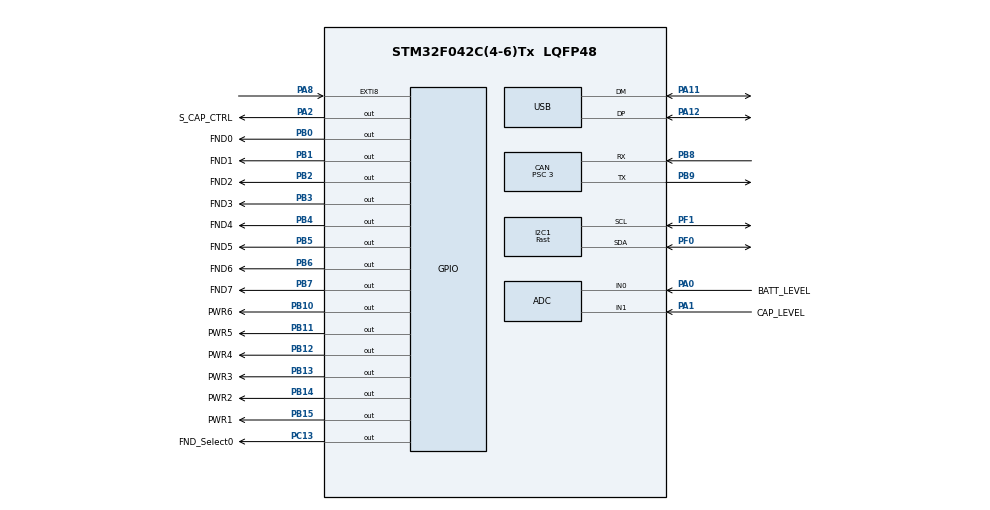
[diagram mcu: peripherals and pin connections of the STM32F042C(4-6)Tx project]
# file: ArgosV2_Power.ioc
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CAN.BS1=CAN_BS1_13TQ
CAN.BS2=CAN_BS2_2TQ
CAN.CalculateBaudRate=1000000
CAN.CalculateTimeBit=1000.00
CAN.CalculateTimeQuantum=62.5
CAN.Prescaler=3
Dma.ADC.0.Direction=DMA_PERIPH_TO_MEMORY
Dma.ADC.0.Instance=DMA1_Channel1
Dma.ADC.0.MemDataAlignment=DMA_MDATAALIGN_HALFWORD
Dma.ADC.0.MemInc=DMA_MINC_ENABLE
Dma.ADC.0.Mode=DMA_CIRCULAR
Dma.ADC.0.PeriphDataAlignment=DMA_PDATAALIGN_HALFWORD
Dma.ADC.0.PeriphInc=DMA_PINC_DISABLE
Dma.ADC.0.Priority=DMA_PRIORITY_LOW
Dma.Request0=ADC
I2C1.I2C_Speed_Mode=I2C_Fast
I2C1.Timing=0x0000020B
Mcu.Family=STM32F0
Mcu.Name=STM32F042C(4-6)Tx
Mcu.Package=LQFP48
NVIC.ADC1_IRQn=true\:0\:0\:false\:false\:true\:true\:true
NVIC.DMA1_Channel1_IRQn=true\:0\:0\:false\:false\:true\:false\:true
NVIC.EXTI4_15_IRQn=true\:0\:0\:false\:false\:true\:true\:true
NVIC.I2C1_IRQn=true\:0\:0\:false\:false\:true\:true\:true
NVIC.TIM1_BRK_UP_TRG_COM_IRQn=true\:0\:0\:false\:false\:true\:true\:true
NVIC.USB_IRQn=true\:0\:0\:false\:false\:true\:true\:true
PA0.GPIO_Label=BATT_LEVEL
PA0.Mode=IN0
PA0.Signal=ADC_IN0
PA1.GPIO_Label=CAP_LEVEL
PA1.Mode=IN1
PA1.Signal=ADC_IN1
PA11.Mode=Device
PA11.Signal=USB_DM
PA12.Mode=Device
PA12.Signal=USB_DP
PA2.GPIO_Label=S_CAP_CTRL
PA2.Signal=GPIO_Output
PA8.GPIO_ModeDefaultEXTI=GPIO_MODE_IT_RISING_FALLING
PA8.Signal=GPXTI8
PB0.GPIO_Label=FND0
PB0.Signal=GPIO_Output
PB1.GPIO_Label=FND1
PB1.Signal=GPIO_Output
PB10.GPIO_Label=PWR6
PB10.GPIO_ModeDefaultOutputPP=GPIO_MODE_OUTPUT_OD
PB10.GPIO_PuPd=GPIO_PULLUP
PB10.GPIO_Speed=GPIO_SPEED_FREQ_LOW
PB10.PinState=GPIO_PIN_SET
PB10.Signal=GPIO_Output
PB11.GPIO_Label=PWR5
PB11.GPIO_ModeDefaultOutputPP=GPIO_MODE_OUTPUT_OD
PB11.GPIO_PuPd=GPIO_PULLUP
PB11.GPIO_Speed=GPIO_SPEED_FREQ_LOW
PB11.PinState=GPIO_PIN_SET
PB11.Signal=GPIO_Output
PB12.GPIO_Label=PWR4
PB12.GPIO_ModeDefaultOutputPP=GPIO_MODE_OUTPUT_OD
PB12.GPIO_PuPd=GPIO_PULLUP
PB12.GPIO_Speed=GPIO_SPEED_FREQ_LOW
PB12.PinState=GPIO_PIN_SET
PB12.Signal=GPIO_Output
PB13.GPIO_Label=PWR3
PB13.GPIO_ModeDefaultOutputPP=GPIO_MODE_OUTPUT_OD
PB13.GPIO_PuPd=GPIO_PULLUP
PB13.GPIO_Speed=GPIO_SPEED_FREQ_LOW
PB13.PinState=GPIO_PIN_SET
PB13.Signal=GPIO_Output
PB14.GPIO_Label=PWR2
PB14.GPIO_ModeDefaultOutputPP=GPIO_MODE_OUTPUT_OD
PB14.GPIO_PuPd=GPIO_PULLUP
PB14.GPIO_Speed=GPIO_SPEED_FREQ_LOW
PB14.PinState=GPIO_PIN_SET
PB14.Signal=GPIO_Output
PB15.GPIO_Label=PWR1
PB15.GPIO_ModeDefaultOutputPP=GPIO_MODE_OUTPUT_OD
PB15.GPIO_PuPd=GPIO_PULLUP
PB15.GPIO_Speed=GPIO_SPEED_FREQ_LOW
PB15.PinState=GPIO_PIN_SET
PB15.Signal=GPIO_Output
PB2.GPIO_Label=FND2
PB2.Signal=GPIO_Output
PB3.GPIO_Label=FND3
PB3.Signal=GPIO_Output
PB4.GPIO_Label=FND4
PB4.Signal=GPIO_Output
PB5.GPIO_Label=FND5
PB5.Signal=GPIO_Output
PB6.GPIO_Label=FND6
PB6.Signal=GPIO_Output
PB7.GPIO_Label=FND7
PB7.Signal=GPIO_Output
PB8.Mode=CAN_Activate
PB8.Signal=CAN_RX
PB9.Mode=CAN_Activate
PB9.Signal=CAN_TX
PC13.GPIO_Label=FND_Select0
PC13.Signal=GPIO_Output
PC14OSC32_IN.GPIO_Label=FND_Select1
PC14OSC32_IN.Signal=GPIO_Output
PC15OSC32_OUT.GPIO_Label=FND_Select2
PC15OSC32_OUT.Signal=GPIO_Output
PF0-OSC_IN.Mode=I2C
PF0-OSC_IN.Signal=I2C1_SDA
PF1-OSC_OUT.Mode=I2C
PF1-OSC_OUT.Signal=I2C1_SCL
ProjectManager.HeapSize=0x100
ProjectManager.StackSize=0x200
ProjectManager.TargetToolchain=MDK-ARM V5.27
RCC.AHBFreq_Value=48000000
RCC.APB1Freq_Value=48000000
RCC.APB1TimFreq_Value=48000000
RCC.HCLKFreq_Value=48000000
RCC.SYSCLKFreq_VALUE=48000000
RCC.SYSCLKSource=RCC_SYSCLKSOURCE_HSI48
TIM1.Period=600
TIM1.Prescaler=79
USB_DEVICE.APP_RX_DATA_SIZE=30
USB_DEVICE.APP_TX_DATA_SIZE=30
USB_DEVICE.CLASS_NAME_FS=CDC
USB_DEVICE.MANUFACTURER_STRING=Stryx.Inc
USB_DEVICE.PRODUCT_STRING_CDC_FS=WebMMS_Power
USB_DEVICE.USBD_MAX_STR_DESC_SIZ=64
USB_DEVICE.USBD_SELF_POWERED=1
USB_DEVICE.VirtualMode=Cdc
USB_DEVICE.VirtualModeFS=Cdc_FS
VP_TIM1_VS_ClockSourceINT.Mode=Internal
VP_USB_DEVICE_VS_USB_DEVICE_CDC_FS.Mode=CDC_FS
board=custom

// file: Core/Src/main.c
/* USER CODE BEGIN Header */
/**
 ******************************************************************************
 * @file           : main.c
 * @brief          : Main program body
 ******************************************************************************
 * @attention
 *
 * <h2><center>&copy; Copyright (c) 2020 STMicroelectronics.
 * All rights reserved.</center></h2>
 *
 * This software component is licensed by ST under BSD 3-Clause license,
 * the "License"; You may not use this file except in compliance with the
 * License. You may obtain a copy of the License at:
 *                        opensource.org/licenses/BSD-3-Clause
 *
 ******************************************************************************
 */
/* USER CODE END Header */
#include "main.h"
#include "usb_device.h"

/* USER CODE BEGIN Includes */
#include <stdbool.h>
#include <string.h>
#include <stdlib.h>
#include <stdio.h>
#include "fonts.h"
#include "ssd1306.h"
#include "usbd_core.h"
/* USER CODE END Includes */

/* USER CODE BEGIN PD */
#define BAT_MAX_VOLTAGE 14.9f
#define CAM_MAX_VOLTAGE 9.9f
#define ADC_MAX_VAL 4096.0f
/* USER CODE END PD */

ADC_HandleTypeDef hadc;
DMA_HandleTypeDef hdma_adc;

CAN_HandleTypeDef hcan;

I2C_HandleTypeDef hi2c1;

TIM_HandleTypeDef htim1;

/* USER CODE BEGIN PV */

// USB Setting
extern USBD_HandleTypeDef hUsbDeviceFS;
extern PCD_HandleTypeDef hpcd_USB_FS;
uint8_t usb_inited_f = 0;
uint8_t usb_init_f = 0;

// FND
const uint8_t fnd_segment_arr[] =
	{
		0x3F,	//0
		0x06,	//1
		0x5B,	//2
		0x4F,	//3
		0x66,	//4
		0x6D,	//5
		0x7D,	//6
		0x07,	//7
		0x7F,	//8
		0x6F,	//9
		0x77,	//A
		0x7C,	//B
		0x39,	//C
		0x5E,	//D
		0x79,	//E
		0x71	//F
		};
uint8_t fnd_var[3];

// Voltage, Current
uint16_t adc_val[2];
float bat_volt = 0, cam_volt = 0;
char print_bat[20];
char print_cam[20];
/* USER CODE END PV */

void SystemClock_Config(void);
static void MX_GPIO_Init(void);
static void MX_DMA_Init(void);
static void MX_ADC_Init(void);
static void MX_TIM1_Init(void);
static void MX_I2C1_Init(void);
static void MX_CAN_Init(void);
/* USER CODE BEGIN PFP */
void HAL_TIM_PeriodElapsedCallback(TIM_HandleTypeDef *htim)
{
	static uint16_t now = 13;
	if (htim->Instance == TIM1)
	{
		HAL_GPIO_WritePin(GPIOC, (1 << now), GPIO_PIN_SET);
		now++;
		if (now >= 16)
		{
			now = 13;
		}
		HAL_GPIO_WritePin(GPIOB, 0x00FF, GPIO_PIN_RESET);
		HAL_GPIO_WritePin(GPIOB, fnd_var[now - 13], GPIO_PIN_SET);
		HAL_GPIO_WritePin(GPIOC, (1 << now), GPIO_PIN_RESET);
	}
}

void set_seg_val(uint16_t val, uint8_t ptDigit)
{
	fnd_var[0] = fnd_segment_arr[val / 100]; // 100
	fnd_var[1] = fnd_segment_arr[((val % 100)) / 10]; // 10
	fnd_var[2] = fnd_segment_arr[val % 10]; // 1

	for (uint8_t i = 0; i < 3; i++)
	{
		if (ptDigit & (1 << i))
		{
			fnd_var[i] |= 0x80;
		}
	}
}

void volt_print()
{
	HAL_ADC_Start_DMA(&hadc, (uint32_t *)adc_val, 2);
	for (int i = 0; i < 2; i++)
	{
		HAL_DMA_PollForTransfer(&hdma_adc, HAL_DMA_FULL_TRANSFER, 1000);
	}
	HAL_ADC_Stop_DMA(&hadc);

	bat_volt = ((BAT_MAX_VOLTAGE) / (ADC_MAX_VAL)) * ((float) adc_val[0]);
	cam_volt = ((CAM_MAX_VOLTAGE) / (ADC_MAX_VAL)) * ((float) adc_val[1]);
	if (cam_volt >= 5.3)
	{
		HAL_GPIO_WritePin(S_CAP_CTRL_GPIO_Port, S_CAP_CTRL_Pin, GPIO_PIN_SET);
	}
	else
	{
		HAL_GPIO_WritePin(S_CAP_CTRL_GPIO_Port, S_CAP_CTRL_Pin, GPIO_PIN_RESET);
	}
	set_seg_val((uint16_t) (cam_volt * 100.0), 1 << 0);
	HAL_Delay(50);
}
/* USER CODE END PFP */

int main(void)
{

  /* MCU Configuration--------------------------------------------------------*/

  /* Reset of all peripherals, Initializes the Flash interface and the Systick. */
  HAL_Init();

  /* Configure the system clock */
  SystemClock_Config();

  /* Initialize all configured peripherals */
  MX_GPIO_Init();
  MX_DMA_Init();
  MX_ADC_Init();
  MX_USB_DEVICE_Init();
  MX_TIM1_Init();
  MX_I2C1_Init();
  MX_CAN_Init();
  /* USER CODE BEGIN 2 */
	HAL_TIM_Base_Start_IT(&htim1);
	usb_inited_f = 1;
	ssd1306_Init();

	// I2C OLED Init
	ssd1306_Init();
	ssd1306_Fill(Black);
	ssd1306_UpdateScreen();

	// I2C OLED Default Print
	ssd1306_SetCursor(18, 0);
	ssd1306_WriteString("Stryx.INC", Font_11x18, White);
	ssd1306_SetCursor(0, 20);
	ssd1306_WriteString("batV:", Font_11x18, White);
	ssd1306_SetCursor(0, 40);
	ssd1306_WriteString("camV:", Font_11x18, White);
	ssd1306_UpdateScreen();
  /* USER CODE END 2 */

  /* Infinite loop */
	while (1)
	{

    /* USER CODE BEGIN 3 */
		volt_print();

		sprintf(print_bat, "%d.%d", (int) bat_volt, (int) (bat_volt * 100) % 100);
		sprintf(print_cam, "%d.%d", (int) cam_volt, (int) (cam_volt * 100) % 100);

		ssd1306_SetCursor(60, 20);
		ssd1306_WriteString(print_bat, Font_11x18, White);
		ssd1306_SetCursor(60, 40);
		ssd1306_WriteString(print_cam, Font_11x18, White);
		ssd1306_UpdateScreen();

		if (usb_init_f == 1)
		{
			MX_USB_DEVICE_Init();
			usb_init_f = 0;
		}
		else if (usb_init_f == 2)
		{
			HAL_PCD_DevDisconnect(&hpcd_USB_FS);
			USBD_Stop(&hUsbDeviceFS);
			USBD_DeInit(&hUsbDeviceFS);
			usb_init_f = 0;
		}
	}
  /* USER CODE END 3 */
}

void SystemClock_Config(void)
{
  LL_FLASH_SetLatency(LL_FLASH_LATENCY_1);
  while(LL_FLASH_GetLatency() != LL_FLASH_LATENCY_1)
  {
  }
  LL_RCC_HSI_Enable();

   /* Wait till HSI is ready */
  while(LL_RCC_HSI_IsReady() != 1)
  {

  }
  LL_RCC_HSI_SetCalibTrimming(16);
  LL_RCC_HSI14_Enable();

   /* Wait till HSI14 is ready */
  while(LL_RCC_HSI14_IsReady() != 1)
  {

  }
  LL_RCC_HSI14_SetCalibTrimming(16);
  LL_RCC_HSI48_Enable();

   /* Wait till HSI48 is ready */
  while(LL_RCC_HSI48_IsReady() != 1)
  {

  }
  LL_RCC_SetAHBPrescaler(LL_RCC_SYSCLK_DIV_1);
  LL_RCC_SetAPB1Prescaler(LL_RCC_APB1_DIV_1);
  LL_RCC_SetSysClkSource(LL_RCC_SYS_CLKSOURCE_HSI48);

   /* Wait till System clock is ready */
  while(LL_RCC_GetSysClkSource() != LL_RCC_SYS_CLKSOURCE_STATUS_HSI48)
  {

  }
  LL_SetSystemCoreClock(48000000);

   /* Update the time base */
  if (HAL_InitTick (TICK_INT_PRIORITY) != HAL_OK)
  {
    Error_Handler();
  }
  LL_RCC_HSI14_EnableADCControl();
  LL_RCC_SetI2CClockSource(LL_RCC_I2C1_CLKSOURCE_HSI);
  LL_RCC_SetUSBClockSource(LL_RCC_USB_CLKSOURCE_HSI48);
}

static void MX_ADC_Init(void)
{

  ADC_ChannelConfTypeDef sConfig = {0};

  /** Configure the global features of the ADC (Clock, Resolution, Data Alignment and number of conversion)
  */
  hadc.Instance = ADC1;
  hadc.Init.ClockPrescaler = ADC_CLOCK_ASYNC_DIV1;
  hadc.Init.Resolution = ADC_RESOLUTION_12B;
  hadc.Init.DataAlign = ADC_DATAALIGN_RIGHT;
  hadc.Init.ScanConvMode = ADC_SCAN_DIRECTION_FORWARD;
  hadc.Init.EOCSelection = ADC_EOC_SINGLE_CONV;
  hadc.Init.LowPowerAutoWait = DISABLE;
  hadc.Init.LowPowerAutoPowerOff = DISABLE;
  hadc.Init.ContinuousConvMode = DISABLE;
  hadc.Init.DiscontinuousConvMode = DISABLE;
  hadc.Init.ExternalTrigConv = ADC_SOFTWARE_START;
  hadc.Init.ExternalTrigConvEdge = ADC_EXTERNALTRIGCONVEDGE_NONE;
  hadc.Init.DMAContinuousRequests = DISABLE;
  hadc.Init.Overrun = ADC_OVR_DATA_PRESERVED;
  if (HAL_ADC_Init(&hadc) != HAL_OK)
  {
    Error_Handler();
  }
  /** Configure for the selected ADC regular channel to be converted.
  */
  sConfig.Channel = ADC_CHANNEL_0;
  sConfig.Rank = ADC_RANK_CHANNEL_NUMBER;
  sConfig.SamplingTime = ADC_SAMPLETIME_1CYCLE_5;
  if (HAL_ADC_ConfigChannel(&hadc, &sConfig) != HAL_OK)
  {
    Error_Handler();
  }
  /** Configure for the selected ADC regular channel to be converted.
  */
  sConfig.Channel = ADC_CHANNEL_1;
  if (HAL_ADC_ConfigChannel(&hadc, &sConfig) != HAL_OK)
  {
    Error_Handler();
  }

}

static void MX_CAN_Init(void)
{

  hcan.Instance = CAN;
  hcan.Init.Prescaler = 3;
  hcan.Init.Mode = CAN_MODE_NORMAL;
  hcan.Init.SyncJumpWidth = CAN_SJW_1TQ;
  hcan.Init.TimeSeg1 = CAN_BS1_13TQ;
  hcan.Init.TimeSeg2 = CAN_BS2_2TQ;
  hcan.Init.TimeTriggeredMode = DISABLE;
  hcan.Init.AutoBusOff = DISABLE;
  hcan.Init.AutoWakeUp = DISABLE;
  hcan.Init.AutoRetransmission = DISABLE;
  hcan.Init.ReceiveFifoLocked = DISABLE;
  hcan.Init.TransmitFifoPriority = DISABLE;
  if (HAL_CAN_Init(&hcan) != HAL_OK)
  {
    Error_Handler();
  }

}

static void MX_I2C1_Init(void)
{

  hi2c1.Instance = I2C1;
  hi2c1.Init.Timing = 0x0000020B;
  hi2c1.Init.OwnAddress1 = 0;
  hi2c1.Init.AddressingMode = I2C_ADDRESSINGMODE_7BIT;
  hi2c1.Init.DualAddressMode = I2C_DUALADDRESS_DISABLE;
  hi2c1.Init.OwnAddress2 = 0;
  hi2c1.Init.OwnAddress2Masks = I2C_OA2_NOMASK;
  hi2c1.Init.GeneralCallMode = I2C_GENERALCALL_DISABLE;
  hi2c1.Init.NoStretchMode = I2C_NOSTRETCH_DISABLE;
  if (HAL_I2C_Init(&hi2c1) != HAL_OK)
  {
    Error_Handler();
  }
  /** Configure Analogue filter
  */
  if (HAL_I2CEx_ConfigAnalogFilter(&hi2c1, I2C_ANALOGFILTER_ENABLE) != HAL_OK)
  {
    Error_Handler();
  }
  /** Configure Digital filter
  */
  if (HAL_I2CEx_ConfigDigitalFilter(&hi2c1, 0) != HAL_OK)
  {
    Error_Handler();
  }

}

static void MX_TIM1_Init(void)
{

  TIM_ClockConfigTypeDef sClockSourceConfig = {0};
  TIM_MasterConfigTypeDef sMasterConfig = {0};

  htim1.Instance = TIM1;
  htim1.Init.Prescaler = 79;
  htim1.Init.CounterMode = TIM_COUNTERMODE_UP;
  htim1.Init.Period = 600;
  htim1.Init.ClockDivision = TIM_CLOCKDIVISION_DIV1;
  htim1.Init.RepetitionCounter = 0;
  htim1.Init.AutoReloadPreload = TIM_AUTORELOAD_PRELOAD_DISABLE;
  if (HAL_TIM_Base_Init(&htim1) != HAL_OK)
  {
    Error_Handler();
  }
  sClockSourceConfig.ClockSource = TIM_CLOCKSOURCE_INTERNAL;
  if (HAL_TIM_ConfigClockSource(&htim1, &sClockSourceConfig) != HAL_OK)
  {
    Error_Handler();
  }
  sMasterConfig.MasterOutputTrigger = TIM_TRGO_RESET;
  sMasterConfig.MasterSlaveMode = TIM_MASTERSLAVEMODE_DISABLE;
  if (HAL_TIMEx_MasterConfigSynchronization(&htim1, &sMasterConfig) != HAL_OK)
  {
    Error_Handler();
  }

}

static void MX_DMA_Init(void)
{

  /* DMA controller clock enable */
  __HAL_RCC_DMA1_CLK_ENABLE();

  /* DMA interrupt init */
  /* DMA1_Channel1_IRQn interrupt configuration */
  HAL_NVIC_SetPriority(DMA1_Channel1_IRQn, 0, 0);
  HAL_NVIC_EnableIRQ(DMA1_Channel1_IRQn);

}

static void MX_GPIO_Init(void)
{
  LL_EXTI_InitTypeDef EXTI_InitStruct = {0};
  LL_GPIO_InitTypeDef GPIO_InitStruct = {0};

  /* GPIO Ports Clock Enable */
  LL_AHB1_GRP1_EnableClock(LL_AHB1_GRP1_PERIPH_GPIOC);
  LL_AHB1_GRP1_EnableClock(LL_AHB1_GRP1_PERIPH_GPIOF);
  LL_AHB1_GRP1_EnableClock(LL_AHB1_GRP1_PERIPH_GPIOA);
  LL_AHB1_GRP1_EnableClock(LL_AHB1_GRP1_PERIPH_GPIOB);

  /**/
  LL_GPIO_ResetOutputPin(FND_Select0_GPIO_Port, FND_Select0_Pin);

  /**/
  LL_GPIO_ResetOutputPin(FND_Select1_GPIO_Port, FND_Select1_Pin);

  /**/
  LL_GPIO_ResetOutputPin(FND_Select2_GPIO_Port, FND_Select2_Pin);

  /**/
  LL_GPIO_ResetOutputPin(S_CAP_CTRL_GPIO_Port, S_CAP_CTRL_Pin);

  /**/
  LL_GPIO_ResetOutputPin(FND0_GPIO_Port, FND0_Pin);

  /**/
  LL_GPIO_ResetOutputPin(FND1_GPIO_Port, FND1_Pin);

  /**/
  LL_GPIO_ResetOutputPin(FND2_GPIO_Port, FND2_Pin);

  /**/
  LL_GPIO_ResetOutputPin(FND3_GPIO_Port, FND3_Pin);

  /**/
  LL_GPIO_ResetOutputPin(FND4_GPIO_Port, FND4_Pin);

  /**/
  LL_GPIO_ResetOutputPin(FND5_GPIO_Port, FND5_Pin);

  /**/
  LL_GPIO_ResetOutputPin(FND6_GPIO_Port, FND6_Pin);

  /**/
  LL_GPIO_ResetOutputPin(FND7_GPIO_Port, FND7_Pin);

  /**/
  LL_GPIO_SetOutputPin(PWR6_GPIO_Port, PWR6_Pin);

  /**/
  LL_GPIO_SetOutputPin(PWR5_GPIO_Port, PWR5_Pin);

  /**/
  LL_GPIO_SetOutputPin(PWR4_GPIO_Port, PWR4_Pin);

  /**/
  LL_GPIO_SetOutputPin(PWR3_GPIO_Port, PWR3_Pin);

  /**/
  LL_GPIO_SetOutputPin(PWR2_GPIO_Port, PWR2_Pin);

  /**/
  LL_GPIO_SetOutputPin(PWR1_GPIO_Port, PWR1_Pin);

  /**/
  GPIO_InitStruct.Pin = FND_Select0_Pin;
  GPIO_InitStruct.Mode = LL_GPIO_MODE_OUTPUT;
  GPIO_InitStruct.Speed = LL_GPIO_SPEED_FREQ_LOW;
  GPIO_InitStruct.OutputType = LL_GPIO_OUTPUT_PUSHPULL;
  GPIO_InitStruct.Pull = LL_GPIO_PULL_NO;
  LL_GPIO_Init(FND_Select0_GPIO_Port, &GPIO_InitStruct);

  /**/
  GPIO_InitStruct.Pin = FND_Select1_Pin;
  GPIO_InitStruct.Mode = LL_GPIO_MODE_OUTPUT;
  GPIO_InitStruct.Speed = LL_GPIO_SPEED_FREQ_LOW;
  GPIO_InitStruct.OutputType = LL_GPIO_OUTPUT_PUSHPULL;
  GPIO_InitStruct.Pull = LL_GPIO_PULL_NO;
  LL_GPIO_Init(FND_Select1_GPIO_Port, &GPIO_InitStruct);

  /**/
  GPIO_InitStruct.Pin = FND_Select2_Pin;
  GPIO_InitStruct.Mode = LL_GPIO_MODE_OUTPUT;
  GPIO_InitStruct.Speed = LL_GPIO_SPEED_FREQ_LOW;
  GPIO_InitStruct.OutputType = LL_GPIO_OUTPUT_PUSHPULL;
  GPIO_InitStruct.Pull = LL_GPIO_PULL_NO;
  LL_GPIO_Init(FND_Select2_GPIO_Port, &GPIO_InitStruct);

  /**/
  GPIO_InitStruct.Pin = S_CAP_CTRL_Pin;
  GPIO_InitStruct.Mode = LL_GPIO_MODE_OUTPUT;
  GPIO_InitStruct.Speed = LL_GPIO_SPEED_FREQ_LOW;
  GPIO_InitStruct.OutputType = LL_GPIO_OUTPUT_PUSHPULL;
  GPIO_InitStruct.Pull = LL_GPIO_PULL_NO;
  LL_GPIO_Init(S_CAP_CTRL_GPIO_Port, &GPIO_InitStruct);

  /**/
  GPIO_InitStruct.Pin = FND0_Pin;
  GPIO_InitStruct.Mode = LL_GPIO_MODE_OUTPUT;
  GPIO_InitStruct.Speed = LL_GPIO_SPEED_FREQ_LOW;
  GPIO_InitStruct.OutputType = LL_GPIO_OUTPUT_PUSHPULL;
  GPIO_InitStruct.Pull = LL_GPIO_PULL_NO;
  LL_GPIO_Init(FND0_GPIO_Port, &GPIO_InitStruct);

  /**/
  GPIO_InitStruct.Pin = FND1_Pin;
  GPIO_InitStruct.Mode = LL_GPIO_MODE_OUTPUT;
  GPIO_InitStruct.Speed = LL_GPIO_SPEED_FREQ_LOW;
  GPIO_InitStruct.OutputType = LL_GPIO_OUTPUT_PUSHPULL;
  GPIO_InitStruct.Pull = LL_GPIO_PULL_NO;
  LL_GPIO_Init(FND1_GPIO_Port, &GPIO_InitStruct);

  /**/
  GPIO_InitStruct.Pin = FND2_Pin;
  GPIO_InitStruct.Mode = LL_GPIO_MODE_OUTPUT;
  GPIO_InitStruct.Speed = LL_GPIO_SPEED_FREQ_LOW;
  GPIO_InitStruct.OutputType = LL_GPIO_OUTPUT_PUSHPULL;
  GPIO_InitStruct.Pull = LL_GPIO_PULL_NO;
  LL_GPIO_Init(FND2_GPIO_Port, &GPIO_InitStruct);

  /**/
  GPIO_InitStruct.Pin = PWR6_Pin;
  GPIO_InitStruct.Mode = LL_GPIO_MODE_OUTPUT;
  GPIO_InitStruct.Speed = LL_GPIO_SPEED_FREQ_LOW;
  GPIO_InitStruct.OutputType = LL_GPIO_OUTPUT_OPENDRAIN;
  GPIO_InitStruct.Pull = LL_GPIO_PULL_UP;
  LL_GPIO_Init(PWR6_GPIO_Port, &GPIO_InitStruct);

  /**/
  GPIO_InitStruct.Pin = PWR5_Pin;
  GPIO_InitStruct.Mode = LL_GPIO_MODE_OUTPUT;
  GPIO_InitStruct.Speed = LL_GPIO_SPEED_FREQ_LOW;
  GPIO_InitStruct.OutputType = LL_GPIO_OUTPUT_OPENDRAIN;
  GPIO_InitStruct.Pull = LL_GPIO_PULL_UP;
  LL_GPIO_Init(PWR5_GPIO_Port, &GPIO_InitStruct);

  /**/
  GPIO_InitStruct.Pin = PWR4_Pin;
  GPIO_InitStruct.Mode = LL_GPIO_MODE_OUTPUT;
  GPIO_InitStruct.Speed = LL_GPIO_SPEED_FREQ_LOW;
  GPIO_InitStruct.OutputType = LL_GPIO_OUTPUT_OPENDRAIN;
  GPIO_InitStruct.Pull = LL_GPIO_PULL_UP;
  LL_GPIO_Init(PWR4_GPIO_Port, &GPIO_InitStruct);

  /**/
  GPIO_InitStruct.Pin = PWR3_Pin;
  GPIO_InitStruct.Mode = LL_GPIO_MODE_OUTPUT;
  GPIO_InitStruct.Speed = LL_GPIO_SPEED_FREQ_LOW;
  GPIO_InitStruct.OutputType = LL_GPIO_OUTPUT_OPENDRAIN;
  GPIO_InitStruct.Pull = LL_GPIO_PULL_UP;
  LL_GPIO_Init(PWR3_GPIO_Port, &GPIO_InitStruct);

  /**/
  GPIO_InitStruct.Pin = PWR2_Pin;
  GPIO_InitStruct.Mode = LL_GPIO_MODE_OUTPUT;
  GPIO_InitStruct.Speed = LL_GPIO_SPEED_FREQ_LOW;
  GPIO_InitStruct.OutputType = LL_GPIO_OUTPUT_OPENDRAIN;
  GPIO_InitStruct.Pull = LL_GPIO_PULL_UP;
  LL_GPIO_Init(PWR2_GPIO_Port, &GPIO_InitStruct);

  /**/
  GPIO_InitStruct.Pin = PWR1_Pin;
  GPIO_InitStruct.Mode = LL_GPIO_MODE_OUTPUT;
  GPIO_InitStruct.Speed = LL_GPIO_SPEED_FREQ_LOW;
  GPIO_InitStruct.OutputType = LL_GPIO_OUTPUT_OPENDRAIN;
  GPIO_InitStruct.Pull = LL_GPIO_PULL_UP;
  LL_GPIO_Init(PWR1_GPIO_Port, &GPIO_InitStruct);

  /**/
  GPIO_InitStruct.Pin = FND3_Pin;
  GPIO_InitStruct.Mode = LL_GPIO_MODE_OUTPUT;
  GPIO_InitStruct.Speed = LL_GPIO_SPEED_FREQ_LOW;
  GPIO_InitStruct.OutputType = LL_GPIO_OUTPUT_PUSHPULL;
  GPIO_InitStruct.Pull = LL_GPIO_PULL_NO;
  LL_GPIO_Init(FND3_GPIO_Port, &GPIO_InitStruct);

  /**/
  GPIO_InitStruct.Pin = FND4_Pin;
  GPIO_InitStruct.Mode = LL_GPIO_MODE_OUTPUT;
  GPIO_InitStruct.Speed = LL_GPIO_SPEED_FREQ_LOW;
  GPIO_InitStruct.OutputType = LL_GPIO_OUTPUT_PUSHPULL;
  GPIO_InitStruct.Pull = LL_GPIO_PULL_NO;
  LL_GPIO_Init(FND4_GPIO_Port, &GPIO_InitStruct);

  /**/
  GPIO_InitStruct.Pin = FND5_Pin;
  GPIO_InitStruct.Mode = LL_GPIO_MODE_OUTPUT;
  GPIO_InitStruct.Speed = LL_GPIO_SPEED_FREQ_LOW;
  GPIO_InitStruct.OutputType = LL_GPIO_OUTPUT_PUSHPULL;
  GPIO_InitStruct.Pull = LL_GPIO_PULL_NO;
  LL_GPIO_Init(FND5_GPIO_Port, &GPIO_InitStruct);

  /**/
  GPIO_InitStruct.Pin = FND6_Pin;
  GPIO_InitStruct.Mode = LL_GPIO_MODE_OUTPUT;
  GPIO_InitStruct.Speed = LL_GPIO_SPEED_FREQ_LOW;
  GPIO_InitStruct.OutputType = LL_GPIO_OUTPUT_PUSHPULL;
  GPIO_InitStruct.Pull = LL_GPIO_PULL_NO;
  LL_GPIO_Init(FND6_GPIO_Port, &GPIO_InitStruct);

  /**/
  GPIO_InitStruct.Pin = FND7_Pin;
  GPIO_InitStruct.Mode = LL_GPIO_MODE_OUTPUT;
  GPIO_InitStruct.Speed = LL_GPIO_SPEED_FREQ_LOW;
  GPIO_InitStruct.OutputType = LL_GPIO_OUTPUT_PUSHPULL;
  GPIO_InitStruct.Pull = LL_GPIO_PULL_NO;
  LL_GPIO_Init(FND7_GPIO_Port, &GPIO_InitStruct);

  /**/
  LL_SYSCFG_SetEXTISource(LL_SYSCFG_EXTI_PORTA, LL_SYSCFG_EXTI_LINE8);

  /**/
  LL_GPIO_SetPinPull(GPIOA, LL_GPIO_PIN_8, LL_GPIO_PULL_NO);

  /**/
  LL_GPIO_SetPinMode(GPIOA, LL_GPIO_PIN_8, LL_GPIO_MODE_INPUT);

  /**/
  EXTI_InitStruct.Line_0_31 = LL_EXTI_LINE_8;
  EXTI_InitStruct.LineCommand = ENABLE;
  EXTI_InitStruct.Mode = LL_EXTI_MODE_IT;
  EXTI_InitStruct.Trigger = LL_EXTI_TRIGGER_RISING_FALLING;
  LL_EXTI_Init(&EXTI_InitStruct);

  /* EXTI interrupt init*/
  NVIC_SetPriority(EXTI4_15_IRQn, 0);
  NVIC_EnableIRQ(EXTI4_15_IRQn);

}

void Error_Handler(void)
{
}

/************************ (C) COPYRIGHT STMicroelectronics *****END OF FILE****/
